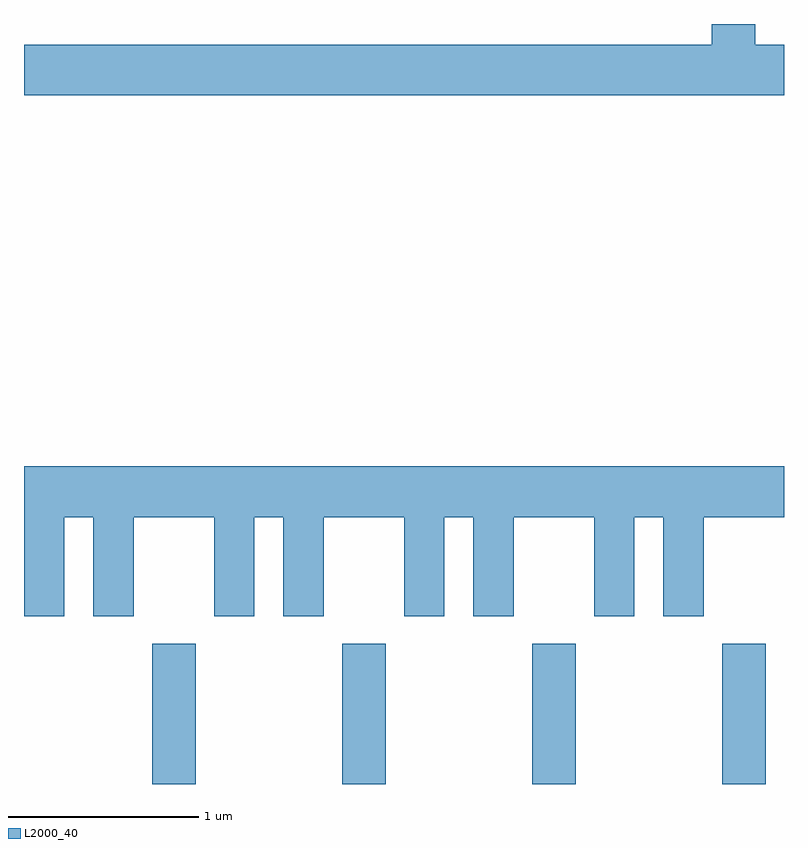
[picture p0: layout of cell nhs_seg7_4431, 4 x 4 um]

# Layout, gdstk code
import gdstk
lib = gdstk.Library(unit=1e-6, precision=1e-09)
def R(c, l, rs):  # rectangles x0, y0, x1, y1
    for r in rs: c.add(gdstk.rectangle(r[:2], r[2:], *l))
def A(c, l, x, y, w, h, nx, ny, dx, dy):  # array of equal rectangles
    R(c, l, [(x+i*dx, y+j*dy, x+i*dx+w, y+j*dy+h) for i in range(nx) for j in range(ny)])
def P(c, l, *ps):  # polygons
    for p in ps: c.add(gdstk.Polygon(p, *l))
L2000_40 = (2000, 40)

nhs_seg7_4431 = lib.new_cell('nhs_seg7_4431')
A(nhs_seg7_4431, L2000_40, 322.286, 1706.252, 0.228, 0.737, 4, 1, 1, 0)
P(nhs_seg7_4431, L2000_40, [(325.611,1710.144),(325.459,1710.144),(325.459,1710.252),(325.231,1710.252),(325.231,1710.144),(321.611,1710.144),(321.611,1709.876),(325.611,1709.876)],
  [(321.824,1707.656),(321.976,1707.656),(321.976,1707.136),(322.189,1707.136),(322.189,1707.656),(322.611,1707.656),(322.611,1707.136),(322.824,1707.136),(322.824,1707.656),(322.976,1707.656),(322.976,1707.136),(323.189,1707.136),(323.189,1707.656),(323.611,1707.656),(323.611,1707.136),(323.824,1707.136),(323.824,1707.656),(323.976,1707.656),(323.976,1707.136),(324.189,1707.136),(324.189,1707.656),(324.611,1707.656),(324.611,1707.136),(324.824,1707.136),(324.824,1707.656),(324.976,1707.656),(324.976,1707.136),(325.189,1707.136),(325.189,1707.656),(325.611,1707.656),(325.611,1707.924),(321.611,1707.924),(321.611,1707.136),(321.824,1707.136)])

lib.write_gds('nhs_seg7_4431.gds')
